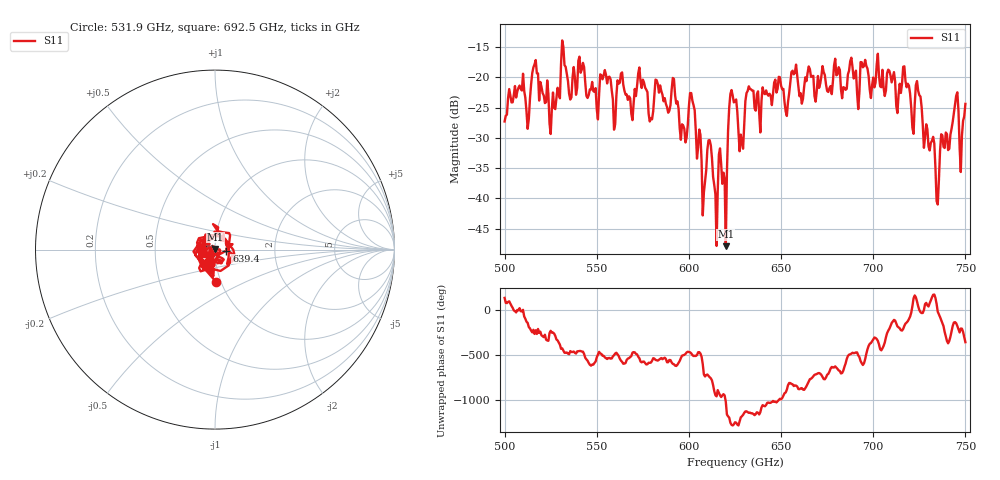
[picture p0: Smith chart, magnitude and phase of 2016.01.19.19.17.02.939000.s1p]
!Created with skrf (http://scikit-rf.org).
# GHz S RI R 50.0
!freq ReS11 ImS11
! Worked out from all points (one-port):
!   401 points, 500 GHz to 750 GHz, reference 50 ohm
!   lowest |S11| = -47.9 dB at 620 GHz (marker M1), VSWR 1.01, Z = 50.2 + j0.348 ohm
!   |S11| at or under -10 dB: start of sweep to end of sweep
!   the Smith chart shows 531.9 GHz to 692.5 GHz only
!   S11 on the Smith chart (normalised r, x): 531.9 GHz: 0.95, -0.35; 639.4 GHz: 1.14, -0.01; 692.5 GHz: 0.86, -0.04
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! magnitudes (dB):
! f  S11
! 500 GHz  -27.3
! 512.5 GHz  -28.5
! 516.2 GHz  -17.9
! 525.6 GHz  -25.3
! 531.2 GHz  -13.9
! 531.9 GHz  -15.0
! 559.4 GHz  -28.7
! 562.5 GHz  -20.9
! 593.8 GHz  -24.0
! 601.9 GHz  -23.9
! 608.1 GHz  -39.0
! 611.2 GHz  -30.4
! 614.4 GHz  -39.3
! 620 GHz  -47.9
! 622.5 GHz  -22.8
! 625 GHz  -24.0
! 628.1 GHz  -29.5
! 632.5 GHz  -21.5
! 639.4 GHz  -23.9
! 656.2 GHz  -18.9
! 687.5 GHz  -17.4
! 692.5 GHz  -22.4
! 718.8 GHz  -21.1
! 724.4 GHz  -22.2
! 735 GHz  -41.0
! 744.4 GHz  -24.5
! 748.1 GHz  -29.6
! 750 GHz  -24.4
